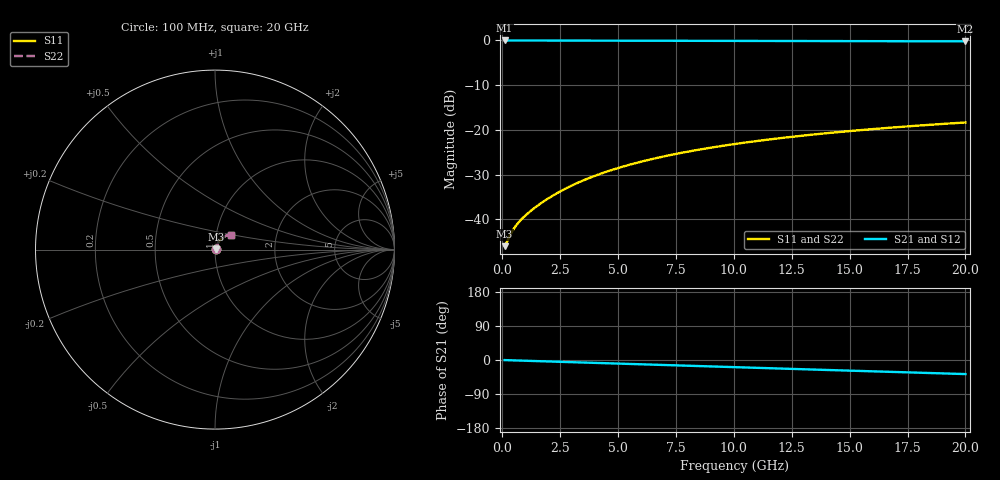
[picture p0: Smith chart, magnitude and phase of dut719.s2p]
! Touchstone file exported from HFSS 2026.1.0
!  File:  C:/ffzhzh/LocalFiles/Ansys_Project_Files/temp_train_TMRDL_719_1783154718_43440.aedt
!  Generated:  04:46:26 PM Jul  4, 2026
!  Design:  TMRDL
!  Project:  temp_train_TMRDL_719_1783154718_43440
! Variables:
!  h_bsmrdl = 2um
!  h_ox = 20um
!  h_rdl = 5um
!  h_sub = 80um
!  h_tmrdl = 2.95um
!  h_tsv = 80um
!  h_via = 3um
!  l_bsmrdl = 300um
!  l_sub = 1054.75um
!  l_tmrdl = 654.75um
!  m_sub = 200um
!  pitch = 22.2um
!  r_tsv = 6um
!  s_tmrdl = 10um
!  w_bsmrdl = 18um
!  w_sub = 500um
!  w_tmrdl = 16.75um
!  x_tsv_center1 = 663.125um
!  x_tsv_center2 = 981.125um
!  x_tsv_center3 = 1652.625um
!  x_tsv_center4 = 1970.625um
!  x_tsv_center5 = 2642.125um
!  x_tsv_center6 = 2960.125um
# GHz S MA R 50.000000
! Terminal data exported
! Port[1] = TM_RDL1_1_T1
! Port[2] = TM_RDL1_1_T2
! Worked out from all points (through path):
!   200 points, 100 MHz to 20 GHz, reference 50 ohm
!   highest |S21| = -0.04 dB at 100 MHz (marker M1); lowest = -0.2 dB at 20 GHz (marker M2)
!   group delay of S21, straight-line fit = 5.15 ps
!   lowest |S11| = -46.0 dB at 100 MHz (marker M3), VSWR 1.01, Z = 50.5 + j0.121 ohm
!   |S11| at or under -10 dB: start of sweep to end of sweep
!   |S22| runs from -46.0 to -18.4 dB; largest |S21 - S12| = 3e-15
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0.1  0.005027 13.8  0.9951 -0.2  0.9951 -0.2  0.005027 13.8
! Gamma 0 0 0 0
! Port Impedance 50 0 50 0
0.2  0.005618 24.3  0.9949 -0.4  0.9949 -0.4  0.005618 24.3
0.4  0.007145 35.9  0.9943 -0.8  0.9943 -0.8  0.007145 35.9
0.5  0.007886 39.1  0.994 -1.0  0.994 -1.0  0.007886 39.1
0.6  0.008581 41.6  0.9937 -1.2  0.9937 -1.2  0.00858 41.6
0.7  0.009236 43.7  0.9935 -1.4  0.9935 -1.4  0.009235 43.7
0.9  0.01047 47.3  0.9931 -1.8  0.9931 -1.8  0.01047 47.3
1.2  0.01227 51.7  0.9928 -2.4  0.9928 -2.4  0.01227 51.7
1.7  0.01534 57.1  0.9924 -3.3  0.9924 -3.3  0.01534 57.1
2.3  0.01921 61.3  0.992 -4.4  0.992 -4.4  0.01921 61.3
2.9  0.02321 63.7  0.9916 -5.6  0.9916 -5.6  0.02321 63.7
3.5  0.02727 65.0  0.9911 -6.7  0.9911 -6.7  0.02727 65.0
4.2  0.03203 65.6  0.9905 -8.1  0.9905 -8.1  0.03203 65.6
5  0.03745 65.7  0.9898 -9.6  0.9898 -9.6  0.03745 65.7
5.9  0.04346 65.1  0.9888 -11.3  0.9888 -11.3  0.04346 65.1
6.8  0.04936 64.2  0.9879 -13.0  0.9879 -13.0  0.04936 64.3
8.3  0.0589 62.3  0.9861 -15.8  0.9861 -15.8  0.05889 62.4
10.1  0.06983 59.7  0.9839 -19.1  0.9839 -19.1  0.06982 59.7
11.7  0.07909 57.1  0.9819 -22.0  0.9819 -22.0  0.07908 57.2
13.4  0.08848 54.4  0.9798 -25.2  0.9798 -25.2  0.08847 54.4
16.7  0.1055 49.0  0.976 -31.2  0.976 -31.2  0.1054 49.0
20  0.1208 43.6  0.9724 -37.2  0.9724 -37.2  0.1208 43.6
